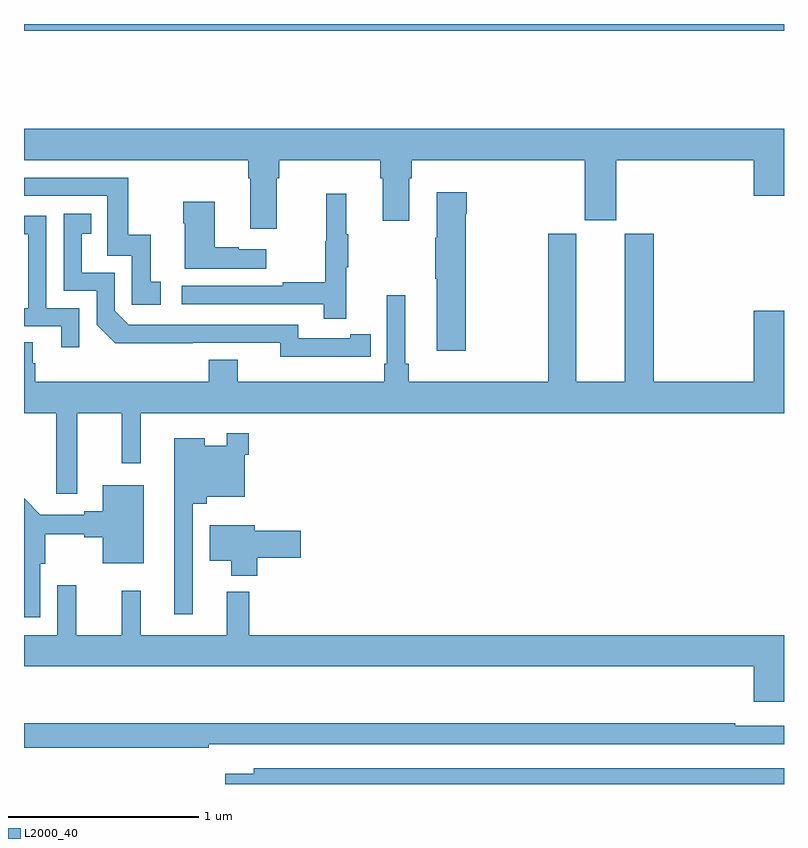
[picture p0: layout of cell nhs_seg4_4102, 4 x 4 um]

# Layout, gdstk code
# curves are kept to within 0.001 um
import gdstk
lib = gdstk.Library(unit=1e-6, precision=1e-09)
def R(c, l, rs):  # rectangles x0, y0, x1, y1
    for r in rs: c.add(gdstk.rectangle(r[:2], r[2:], *l))
def P(c, l, *ps):  # polygons
    for p in ps: c.add(gdstk.Polygon(p, *l))
L2000_40 = (2000, 40)

nhs_seg4_4102 = lib.new_cell('nhs_seg4_4102')
R(nhs_seg4_4102, L2000_40, [(329,766.864,333,766.9)])
P(nhs_seg4_4102, L2000_40, [(329,766.184),(330.179,766.184),(330.179,766.088),(330.191,766.088),(330.191,765.822),(330.331,765.822),(330.331,766.088),(330.344,766.088),(330.344,766.184),(330.875,766.184),(330.875,766.088),(330.887,766.088),(330.887,765.864),(331.027,765.864),(331.027,766.088),(331.04,766.088),(331.04,766.184),(331.952,766.184),(331.952,765.867),(332.116,765.867),(332.116,766.184),(332.84,766.184),(332.84,765.996),(333,765.996),(333,766.348),(329,766.348)],
  [(329.719,765.543),(329.666,765.543),(329.666,765.79),(329.548,765.79),(329.548,766.092),(329,766.092),(329,765.996),(329.439,765.996),(329.439,765.681),(329.568,765.681),(329.568,765.423),(329.719,765.423)],
  [(331.326,765.902),(331.331,765.902),(331.331,766.015),(331.172,766.015),(331.172,765.776),(331.165,765.776),(331.165,765.559),(331.172,765.559),(331.172,765.18),(331.326,765.18)],
  [(330.695,765.619),(330.706,765.619),(330.706,765.793),(330.695,765.793),(330.695,766.006),(330.592,766.006),(330.592,765.756),(330.585,765.756),(330.585,765.542),(330.361,765.542),(330.361,765.522),(329.829,765.522),(329.829,765.426),(330.577,765.426),(330.577,765.348),(330.695,765.348)],
  [(330.274,765.715),(330.131,765.715),(330.131,765.725),(330.004,765.725),(330.004,765.964),(329.839,765.964),(329.839,765.851),(329.846,765.851),(329.846,765.611),(330.274,765.611)],
  [(330.716,765.15),(330.824,765.15),(330.824,765.266),(330.716,765.266),(330.716,765.246),(330.444,765.246),(330.444,765.318),(329.55,765.318),(329.478,765.39),(329.478,765.591),(329.305,765.591),(329.305,765.795),(329.354,765.795),(329.354,765.901),(329.208,765.901),(329.208,765.495),(329.382,765.495),(329.382,765.318),(329.48,765.221),(330.348,765.222),(330.348,765.149)],
  [(329.292,765.405),(329.118,765.405),(329.118,765.891),(329,765.891),(329,765.794),(329.022,765.794),(329.022,765.405),(329,765.405),(329,765.309),(329.195,765.309),(329.195,765.198),(329.292,765.198)],
  [(329.281,764.852),(329.515,764.852),(329.515,764.589),(329.614,764.589),(329.614,764.852),(333,764.852),(333,765.391),(332.84,765.391),(332.84,765.016),(332.315,765.016),(332.315,765.795),(332.162,765.795),(332.162,765.016),(331.906,765.016),(331.906,765.795),(331.759,765.795),(331.759,765.016),(331.025,765.016),(331.025,765.112),(331.006,765.112),(331.006,765.472),(330.909,765.472),(330.909,765.112),(330.896,765.112),(330.896,765.016),(330.124,765.016),(330.124,765.133),(329.972,765.133),(329.972,765.016),(329.06,765.016),(329.06,765.114),(329.047,765.114),(329.047,765.224),(329,765.224),(329,764.852),(329.171,764.852),(329.171,764.427),(329.281,764.427)],
  [(329.889,764.375),(329.963,764.375),(329.963,764.411),(330.162,764.411),(330.162,764.633),(330.182,764.633),(330.182,764.746),(330.066,764.746),(330.066,764.68),(329.95,764.68),(329.95,764.719),(329.792,764.719),(329.792,763.794),(329.889,763.794)],
  [(329.086,764.058),(329.112,764.058),(329.112,764.215),(329.318,764.215),(329.318,764.2),(329.414,764.2),(329.414,764.063),(329.629,764.063),(329.629,764.473),(329.414,764.473),(329.414,764.336),(329.318,764.336),(329.318,764.316),(329.086,764.316),(329,764.403),(329,763.778),(329.086,763.778)],
  [(330.227,764.092),(330.457,764.092),(330.457,764.234),(330.214,764.234),(330.214,764.263),(329.978,764.263),(329.978,764.075),(330.092,764.075),(330.092,763.997),(330.227,763.997)],
  [(333,763.684),(330.185,763.684),(330.185,763.912),(330.068,763.912),(330.068,763.684),(329.615,763.684),(329.615,763.918),(329.515,763.918),(329.515,763.684),(329.274,763.684),(329.274,763.945),(329.175,763.945),(329.175,763.684),(329,763.684),(329,763.52),(332.84,763.52),(332.84,763.332),(333,763.332)],
  [(329.972,763.11),(333,763.11),(333,763.206),(332.744,763.206),(332.744,763.219),(329,763.219),(329,763.09),(329.972,763.09)],
  [(333,762.984),(330.209,762.984),(330.209,762.955),(330.06,762.955),(330.06,762.9),(333,762.9)])

lib.write_gds('nhs_seg4_4102.gds')
